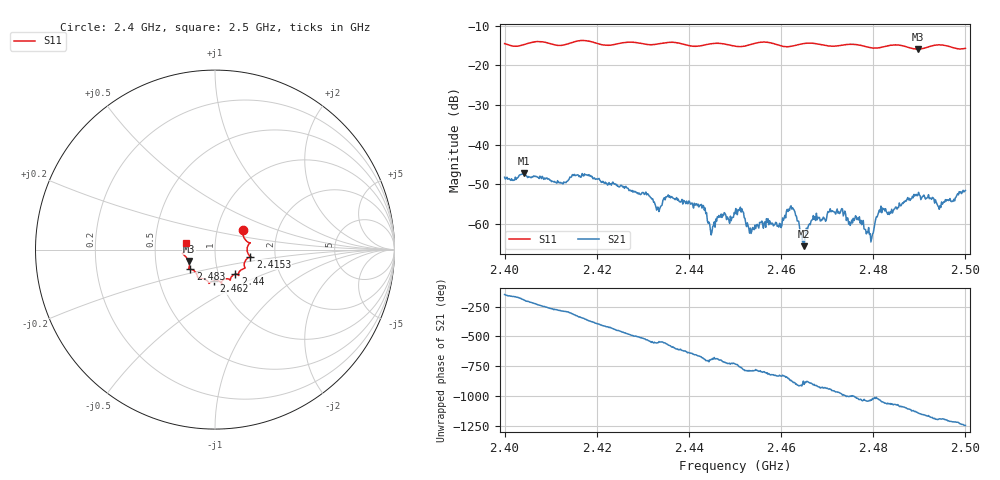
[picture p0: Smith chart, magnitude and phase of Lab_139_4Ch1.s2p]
# Hz S RI R 50
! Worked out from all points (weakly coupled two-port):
!   601 points, 2.4 GHz to 2.5 GHz, reference 50 ohm
!   highest |S21| = -47.14 dB at 2.4042 GHz (marker M1); lowest = -65.6 dB at 2.465 GHz (marker M2)
!   lowest |S11| = -15.9 dB at 2.4897 GHz (marker M3), VSWR 1.38, Z = 36.9 - j4.8 ohm
!   |S11| at or under -10 dB: start of sweep to end of sweep
!   S12 and S22 are empty: the file has one direction only
!   S11 on the Smith chart (normalised r, x): 2.4 GHz: 1.33, +0.29; 2.4153 GHz: 1.48, -0.12; 2.44 GHz: 1.20, -0.34; 2.462 GHz: 0.93, -0.33; 2.483 GHz: 0.74, -0.17; 2.5 GHz: 0.72, +0.06
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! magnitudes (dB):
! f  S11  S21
! 2.4 GHz  -14.5  -48.2
! 2.4042 GHz  -14.8  -47.1
! 2.4153 GHz  -14.0  -47.8
! 2.4167 GHz  -13.7  -48.1
! 2.4333 GHz  -14.6  -55.8
! 2.44 GHz  -15.0  -54.2
! 2.443 GHz  -14.9  -55.3
! 2.4452 GHz  -14.5  -60.6
! 2.45 GHz  -15.1  -57.4
! 2.4537 GHz  -14.6  -61.7
! 2.4597 GHz  -15.0  -59.8
! 2.462 GHz  -15.2  -55.7
! 2.465 GHz  -14.5  -65.6
! 2.4667 GHz  -14.4  -59.0
! 2.4735 GHz  -14.8  -58.0
! 2.4797 GHz  -15.6  -63.6
! 2.4812 GHz  -15.6  -57.2
! 2.483 GHz  -15.1  -57.2
! 2.4833 GHz  -15.0  -57.0
! 2.4897 GHz  -15.9  -52.8
! 2.4945 GHz  -14.8  -55.4
! 2.5 GHz  -15.7  -51.5
